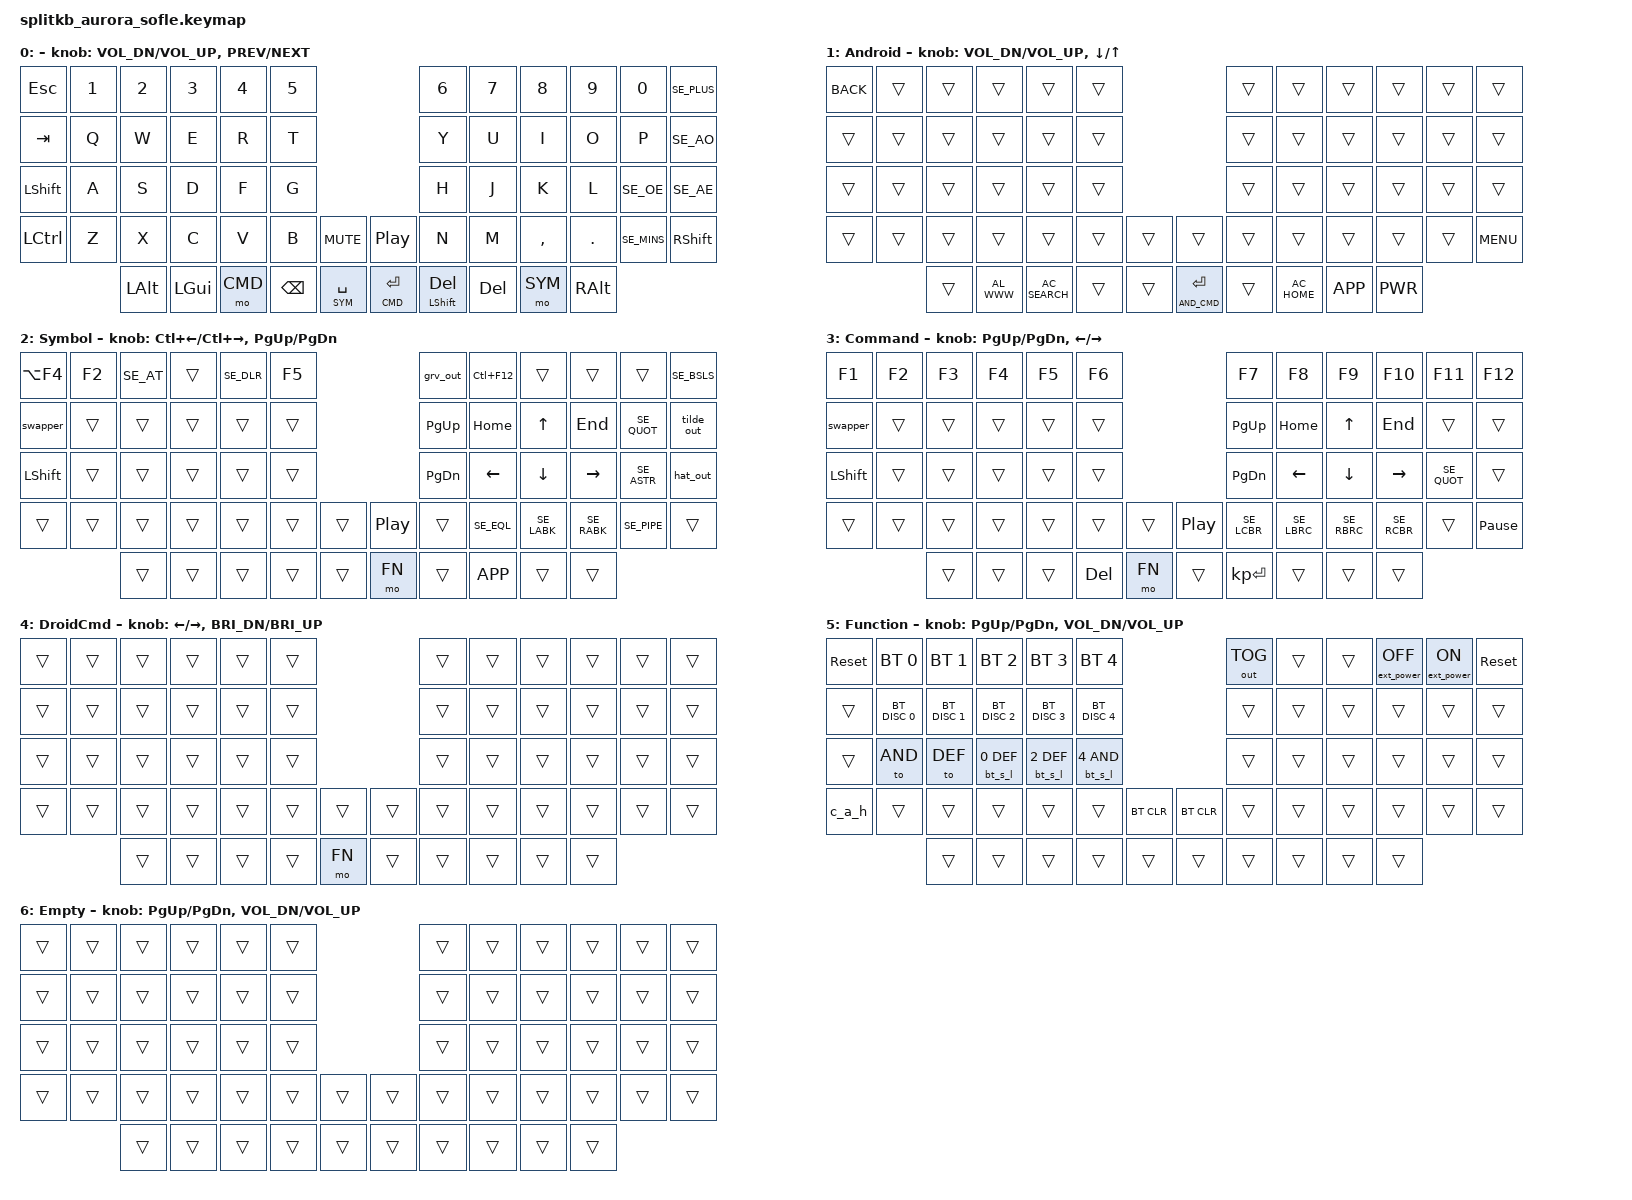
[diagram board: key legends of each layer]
/*
 * Copyright (c) 2023 The ZMK Contributors
 *
 * SPDX-License-Identifier: MIT
 */

#include <behaviors.dtsi>
#include <dt-bindings/zmk/bt.h>
#include <dt-bindings/zmk/keys.h>
#include <dt-bindings/zmk/outputs.h>
#include <dt-bindings/zmk/ext_power.h>
#include "../swedish-keymap.h"

// None/Trans
#define _____ &none
#define t____ &trans

// Layers
#define DEF 0		// Default
#define AND 1		// Android
#define SYM 2		// Symbols
#define CMD 3		// Commands
#define AND_CMD 4	// Android functions
#define FN 5 		// Functions 

// nice!view
&nice_view_spi { cs-gpios = <&gpio1 1 GPIO_ACTIVE_HIGH>; };

&left_encoder {
	steps = <72>;
};
&right_encoder {
	steps = <72>;
};

&mt {
	retro-tap;
};

/ {
	sensors {
		compatible = "zmk,keymap-sensors";
		sensors = <&left_encoder &right_encoder>;
		triggers-per-rotation = <36>;
	};

	macros {
		// bt_sel_in: bt_sel_in {
		// 	label = "BLE Select and inactivate";
        //     compatible = "zmk,behavior-macro-one-param";
        //     #binding-cells = <1>; // Must be 1
		// 	wait-ms = <200>;
		// 	bindings
		// 		= <&macro_param_1to1>
		// 		, <&bt BT_SEL MACRO_PLACEHOLDER>
		// 		, <&bt BT_DISI>
		// 		;
		// };
		bt_s_l: bt_s_l {
			compatible = "zmk,behavior-macro-two-param";
			#binding-cells = <2>;
			wait-ms = <100>;
			bindings
				= <&macro_param_1to2>
				, <&bt BT_SEL MACRO_PLACEHOLDER>
				, <&macro_param_2to1>
				, <&macro_pause_for_release>
				, <&to MACRO_PLACEHOLDER>
				;
		};
		c_a_h: c_a_h {
			compatible = "zmk,behavior-macro";
			#binding-cells = <0>;
			wait-ms = <50>;
			bindings
				= <&macro_press &kp LCTRL &kp LALT>
				, <&macro_tap &kp HOME>
				, <&macro_release &kp LCTRL &kp LALT>
				, <&macro_press &kp LALT>
				, <&macro_tap &kp TAB>
				, <&macro_pause_for_release>
				, <&macro_release &kp LALT>
				;
		};
		grv_out: se_grave_output {
			compatible = "zmk,behavior-macro";
			#binding-cells = <0>;
			bindings
				= <&macro_tap &kp SE_GRV>
				, <&macro_tap &kp SPACE>
				;
		};
		tilde_out: se_tilde_output {
			compatible = "zmk,behavior-macro";
			#binding-cells = <0>;
			bindings
				= <&macro_tap &kp SE_TILD>
				, <&macro_tap &kp SPACE>
				;
		};
		hat_out: se_hat_output {
			compatible = "zmk,behavior-macro";
			#binding-cells = <0>;
			bindings
				= <&macro_tap &kp SE_HAT>
				, <&macro_tap &kp SPACE>
				;
		};
	};

	behaviors {
		qlt: quick_layer_tap {
			compatible = "zmk,behavior-hold-tap";
			#binding-cells = <2>;
			flavor = "hold-preferred";
			quick-tap-ms = <200>;
			tapping-term-ms = <125>;
			bindings = <&mo>, <&kp>;
		};

		// Swapper for smart alt+tab
		swapper: swapper {
			compatible = "zmk,behavior-tri-state";
			#binding-cells = <0>;
			bindings = <&kt LALT>, <&kp TAB>, <&kt LALT>;
			ignored-key-positions = <12 24>;
		};

		rot_kp: behavior_sensor_rotate_kp {
			compatible = "zmk,behavior-sensor-rotate-var";
			#sensor-binding-cells = <2>;
			bindings = <&kp>, <&kp>;
		};

		vol_encoder: vol_encoder {
			compatible = "zmk,behavior-sensor-rotate";
			#sensor-binding-cells = <0>;
			bindings = <&kp C_VOL_DN>, <&kp C_VOL_UP>;
		};
	};

	keymap {
		compatible = "zmk,keymap";

		default_layer {
			display-name = " ";
// ------------------------------------------------------------------------------------------------------------
// |  ESC  |  1  |  2  |  3   |  4   |  5   |                   |  6   |  7    |  8    |  9   |   0   |   `   |
// |  TAB  |  Q  |  W  |  E   |  R   |  T   |                   |  Y   |  U    |  I    |  O   |   P   |   -   |
// |  CTRL |  A  |  S  |  D   |  F   |  G   |                   |  H   |  J    |  K    |  L   |   ;   |   '   |
// | SHIFT |  Z  |  X  |  C   |  V   |  B   |   "["  |  |  "]"  |  N   |  M    |  ,    |  .   |   /   | SHIFT |
//               |CTRL | ALT  | GUI  | LOWER|  SPACE |  | ENTER | RAISE| BSPC  | GUI   | RALT |
			bindings = <
&kp ESC			&kp N1	 		&kp N2			&kp N3			&kp N4			&kp N5														&kp N6			&kp N7			&kp N8			&kp N9			&kp N0			&kp SE_PLUS
&kp TAB			&kp Q			&kp W			&kp E			&kp R			&kp T														&kp Y			&kp U			&kp I			&kp O			&kp P			&kp SE_AO
&kp LSHFT		&kp A			&kp S			&kp D			&kp F			&kp G														&kp H			&kp J			&kp K			&kp L			&kp SE_OE		&kp SE_AE
&kp LCTRL		&kp Z			&kp X			&kp C			&kp V			&kp B				&kp C_MUTE			&kp C_PLAY_PAUSE	&kp N			&kp M			&kp COMMA		&kp DOT			&kp SE_MINS 	&kp RSHFT
								&kp LALT		&kp LGUI		&mo CMD			&kp BSPC			&qlt SYM SPACE		&qlt CMD RET		&mt LSHFT DEL	&kp DEL			&mo SYM			&kp RALT
			>;

			sensor-bindings = <
				&inc_dec_kp C_VOL_DN C_VOL_UP
				&inc_dec_kp C_PREV C_NEXT
			>;
		};
		
		android_layer {
			display-name = "Android";
// ------------------------------------------------------------------------------------------------------------
// |   |   |   |   |   |   |                 |   |   |   |   |   |   |
// |   |   |   |   |   |   |                 |   |   |   |   |   |   |
// |   |   |   |   |   |   |                 |   |   |   |   |   |   |
// |   |   |   |   |   |   |      |   |      |   |   |   |   |   |   |
//         |   |   |   |   |      |   |      |   |   |   |   |
			bindings = <
&kp K_BACK		t____	 		t____			t____			t____			t____														t____			t____			t____	 		t____			t____			t____
t____			t____	 		t____			t____			t____			t____														t____			t____			t____	 		t____			t____			t____
t____			t____	 		t____			t____			t____			t____														t____			t____			t____	 		t____			t____			t____
t____			t____			t____			t____			t____			t____				t____				t____				t____			t____			t____	 		t____			t____			&kp K_MENU
								t____			&kp C_AL_WWW	&kp C_AC_SEARCH	t____				t____				&qlt AND_CMD RET	t____			&kp C_AC_HOME	&kp K_APP		&kp K_PWR
			>;

			sensor-bindings = <
				&inc_dec_kp C_VOL_DN C_VOL_UP
				&inc_dec_kp DOWN UP
			>;
		};

		sym_layer {
			display-name = "Symbol";
// ------------------------------------------------------------------------------------------------------------
// | BTCLR | BT1 | BT2 |  BT3 |  BT4 |  BT5 |                   |      |       |       |      |       |       |
// |  F1   |  F2 |  F3 |  F4  |  F5  |  F6  |                   |  F7  |  F8   |  F9   |  F10 |  F11  |  F12  |
// |   `   |  !  |  @  |  #   |  $   |  %   |                   |  ^   |  &    |  *    |  (   |   )   |   ~   |
// |       |     |     |      |      |      |        |  |       |      |  _    |  +    |  {   |   }   |  "|"  |
//               |     |      |      |      |        |  |       |      |       |       |      |
			bindings = <
&kp LA(F4)		&kp F2			&kp SE_AT		t____			&kp SE_DLR		&kp F5															&grv_out		&kp LC(F12)		t____			t____			t____			&kp SE_BSLS
&swapper		t____	 		t____			t____			t____			t____															&kp PG_UP		&kp HOME		&kp UP			&kp END			&kp SE_QUOT		&tilde_out
&kp LSHFT		t____	 		t____			t____			t____			t____															&kp PG_DN		&kp LEFT		&kp DOWN		&kp RIGHT		&kp SE_ASTR		&hat_out
t____			t____			t____			t____			t____			t____				t____				&kp C_PLAY_PAUSE		t____			&kp SE_EQL		&kp SE_LABK		&kp SE_RABK		&kp SE_PIPE		t____
								t____			t____			t____			t____ 				t____				&mo FN					t____			&kp K_APP 		t____			t____
			>;

			sensor-bindings = <
				&inc_dec_kp LC(LEFT) LC(RIGHT)
				&inc_dec_kp PG_UP PG_DN
			>;
		};

		cmd_layer {
			display-name = "Command";
// ------------------------------------------------------------------------------------------------------------
// | BTCLR | BT1 | BT2 |  BT3 |  BT4 |  BT5 |                   |      |       |       |      |       |       |
// |  F1   |  F2 |  F3 |  F4  |  F5  |  F6  |                   |  F7  |  F8   |  F9   |  F10 |  F11  |  F12  |
// |   `   |  !  |  @  |  #   |  $   |  %   |                   |  ^   |  &    |  *    |  (   |   )   |   ~   |
// |       |     |     |      |      |      |        |  |       |      |  _    |  +    |  {   |   }   |  "|"  |
//               |     |      |      |      |        |  |       |      |       |       |      |
			bindings = <
&kp F1			&kp F2			&kp F3			&kp F4			&kp F5			&kp F6														&kp F7			&kp F8			&kp F9			&kp F10			&kp F11			&kp F12
&swapper		t____			t____			t____			t____			t____														&kp PG_UP		&kp HOME		&kp UP			&kp END			t____			t____
&kp LSHFT		t____			t____			t____			t____			t____														&kp PG_DN		&kp LEFT		&kp DOWN		&kp RIGHT		&kp SE_QUOT		t____
t____			t____			t____			t____			t____			t____				t____				&kp C_PLAY_PAUSE	&kp SE_LCBR		&kp SE_LBRC		&kp SE_RBRC		&kp SE_RCBR		t____			&kp PAUSE_BREAK
								t____			t____			t____			&kp DEL				&mo FN				t____				&kp KP_ENTER	t____			t____			t____
			>;

			sensor-bindings = <
				&inc_dec_kp PG_UP PG_DN
				&inc_dec_kp LEFT RIGHT
			>;
		};

		android_cmd_layer {
			display-name = "DroidCmd";
// ------------------------------------------------------------------------------------------------------------
// | BTCLR | BT1 | BT2 |  BT3 |  BT4 |  BT5 |                   |      |       |       |      |       |       |
// |  F1   |  F2 |  F3 |  F4  |  F5  |  F6  |                   |  F7  |  F8   |  F9   |  F10 |  F11  |  F12  |
// |   `   |  !  |  @  |  #   |  $   |  %   |                   |  ^   |  &    |  *    |  (   |   )   |   ~   |
// |       |     |     |      |      |      |        |  |       |      |  _    |  +    |  {   |   }   |  "|"  |
//               |     |      |      |      |        |  |       |      |       |       |      |
			bindings = <
t____			t____	 		t____			t____			t____			t____														t____			t____			t____	 		t____			t____			t____
t____			t____	 		t____			t____			t____			t____														t____			t____			t____	 		t____			t____			t____
t____			t____	 		t____			t____			t____			t____														t____			t____			t____	 		t____			t____			t____
t____			t____			t____			t____			t____			t____				t____			t____					t____			t____			t____	 		t____			t____			t____
								t____			t____			t____			t____				&mo FN			t____					t____			t____			t____			t____
			>;

			sensor-bindings = <
				&inc_dec_kp LEFT RIGHT
				&inc_dec_kp C_BRI_DN C_BRI_UP
			>;
		};

		fn_layer {
			display-name = "Function";
// ------------------------------------------------------------------------------------------------------------
// | BTCLR | BT1 | BT2 |  BT3 |  BT4 |  BT5 |                   |      |       |       |      |       |       |
// |  F1   |  F2 |  F3 |  F4  |  F5  |  F6  |                   |  F7  |  F8   |  F9   |  F10 |  F11  |  F12  |
// |   `   |  !  |  @  |  #   |  $   |  %   |                   |  ^   |  &    |  *    |  (   |   )   |   ~   |
// |       |     |     |      |      |      |        |  |       |      |  _    |  +    |  {   |   }   |  "|"  |
//               |     |      |      |      |        |  |       |      |       |       |      |
			bindings = <
&sys_reset		&bt BT_SEL 0	&bt BT_SEL 1	&bt BT_SEL 2	&bt BT_SEL 3	&bt BT_SEL 4												&out OUT_TOG 	t____			t____			&ext_power EP_OFF &ext_power EP_ON &sys_reset
t____			&bt BT_DISC 0	&bt BT_DISC 1	&bt BT_DISC 2	&bt BT_DISC 3	&bt BT_DISC 4												t____			t____			t____			t____			t____			t____
t____			&to AND			&to DEF			&bt_s_l 0 DEF 	&bt_s_l 2 DEF 	&bt_s_l 4 AND												t____			t____			t____			t____			t____			t____
&c_a_h			t____			t____			t____			t____			t____				&bt BT_CLR			&bt BT_CLR			t____			t____			t____			t____			t____			t____
								t____			t____			t____			t____ 				t____				t____				t____			t____			t____			t____
			>;

			sensor-bindings = <
				&inc_dec_kp PG_UP PG_DN
				&inc_dec_kp C_VOL_DN C_VOL_UP
			>;
		};
		empty_layer {
			display-name = "Empty";
// ------------------------------------------------------------------------------------------------------------
// |   |   |   |   |   |   |                 |   |   |   |   |   |   |
// |   |   |   |   |   |   |                 |   |   |   |   |   |   |
// |   |   |   |   |   |   |                 |   |   |   |   |   |   |
// |   |   |   |   |   |   |      |   |      |   |   |   |   |   |   |
//         |   |   |   |   |      |   |      |   |   |   |   |
			bindings = <
t____			t____	 		t____			t____			t____			t____														t____			t____			t____	 		t____			t____			t____
t____			t____	 		t____			t____			t____			t____														t____			t____			t____	 		t____			t____			t____
t____			t____	 		t____			t____			t____			t____														t____			t____			t____	 		t____			t____			t____
t____			t____			t____			t____			t____			t____				t____			t____					t____			t____			t____	 		t____			t____			t____
								t____			t____			t____			t____				t____			t____					t____			t____			t____			t____
			>;

			sensor-bindings = <
				&inc_dec_kp PG_UP PG_DN
				&inc_dec_kp C_VOL_DN C_VOL_UP
			>;
		};
	};
};
